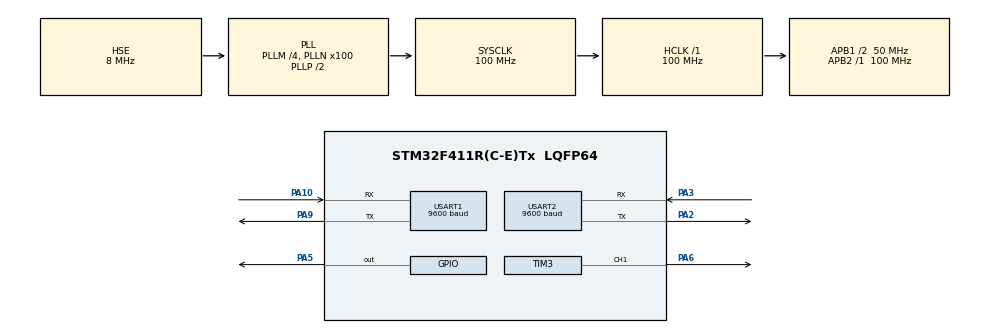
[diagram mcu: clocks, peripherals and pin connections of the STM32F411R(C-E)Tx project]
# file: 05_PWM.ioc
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Mcu.Family=STM32F4
Mcu.Name=STM32F411R(C-E)Tx
Mcu.Package=LQFP64
NVIC.PriorityGroup=NVIC_PRIORITYGROUP_4
NVIC.USART1_IRQn=true\:0\:0\:false\:false\:true\:true\:true\:true
NVIC.USART2_IRQn=true\:0\:0\:false\:false\:true\:true\:true\:true
PA10.Mode=Asynchronous
PA10.Signal=USART1_RX
PA13.Mode=Serial_Wire
PA13.Signal=SYS_JTMS-SWDIO
PA14.Mode=Serial_Wire
PA14.Signal=SYS_JTCK-SWCLK
PA2.Mode=Asynchronous
PA2.Signal=USART2_TX
PA3.Mode=Asynchronous
PA3.Signal=USART2_RX
PA5.Signal=GPIO_Output
PA6.Signal=S_TIM3_CH1
PA9.Mode=Asynchronous
PA9.Signal=USART1_TX
PH0\ -\ OSC_IN.Mode=HSE-External-Oscillator
PH0\ -\ OSC_IN.Signal=RCC_OSC_IN
PH1\ -\ OSC_OUT.Mode=HSE-External-Oscillator
PH1\ -\ OSC_OUT.Signal=RCC_OSC_OUT
ProjectManager.HeapSize=0x200
ProjectManager.StackSize=0x400
ProjectManager.TargetToolchain=STM32CubeIDE
RCC.48MHZClocksFreq_Value=50000000
RCC.AHBFreq_Value=100000000
RCC.APB1CLKDivider=RCC_HCLK_DIV2
RCC.APB1Freq_Value=50000000
RCC.APB1TimFreq_Value=100000000
RCC.APB2Freq_Value=100000000
RCC.APB2TimFreq_Value=100000000
RCC.CortexFreq_Value=100000000
RCC.HCLKFreq_Value=100000000
RCC.HSE_VALUE=8000000
RCC.HSI_VALUE=16000000
RCC.LSE_VALUE=32768
RCC.PLLM=4
RCC.PLLN=100
RCC.PLLSourceVirtual=RCC_PLLSOURCE_HSE
RCC.SYSCLKFreq_VALUE=100000000
RCC.SYSCLKSource=RCC_SYSCLKSOURCE_PLLCLK
RCC.VCOOutputFreq_Value=200000000
SH.S_TIM3_CH1.0=TIM3_CH1,PWM Generation1 CH1
TIM3.Channel-PWM\ Generation1\ CH1=TIM_CHANNEL_1
TIM3.Period=1000-1
TIM3.Prescaler=2000-1
USART1.BaudRate=9600
USART1.VirtualMode=VM_ASYNC
USART2.BaudRate=9600
USART2.VirtualMode=VM_ASYNC
VP_TIM3_VS_ClockSourceINT.Mode=Internal
board=custom

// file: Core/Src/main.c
/* USER CODE BEGIN Header */
/**
  ******************************************************************************
  * @file           : main.c
  * @brief          : Main program body
  ******************************************************************************
  * @attention
  *
  * Copyright (c) 2025 STMicroelectronics.
  * All rights reserved.
  *
  * This software is licensed under terms that can be found in the LICENSE file
  * in the root directory of this software component.
  * If no LICENSE file comes with this software, it is provided AS-IS.
  *
  ******************************************************************************
  */
/* USER CODE END Header */
#include "main.h"
#include "tim.h"
#include "usart.h"
#include "gpio.h"

/* USER CODE BEGIN PV */

uint8_t rxData1;
uint8_t rxData2;

/* USER CODE END PV */

void SystemClock_Config(void);
/* USER CODE BEGIN PFP */

void HAL_UART_RxCpltCallback(UART_HandleTypeDef *huart)
{
	if(huart->Instance == USART2)
	{
	HAL_UART_Receive_IT(&huart2, &rxData2, sizeof(rxData2));
//	HAL_UART_Transmit_IT(&huart1, &rxData2, sizeof(rxData2));
	HAL_UART_Transmit(&huart1, &rxData2, sizeof(rxData2), HAL_MAX_DELAY );
	}

	else if(huart->Instance == USART1)
		{
		HAL_UART_Receive_IT(&huart1, &rxData1, sizeof(rxData1));
//		HAL_UART_Transmit_IT(&huart2, &rxData1, sizeof(rxData1));
		 HAL_UART_Transmit(&huart2, &rxData1, sizeof(rxData1), HAL_MAX_DELAY);
		}

}

/* USER CODE END PFP */

int main(void)
{

  /* MCU Configuration--------------------------------------------------------*/

  /* Reset of all peripherals, Initializes the Flash interface and the Systick. */
  HAL_Init();

  /* Configure the system clock */
  SystemClock_Config();

  /* Initialize all configured peripherals */
  MX_GPIO_Init();
  MX_TIM3_Init();
  MX_USART2_UART_Init();
  MX_USART1_UART_Init();
  /* USER CODE BEGIN 2 */

  HAL_TIM_PWM_Start(&htim3, TIM_CHANNEL_1);

  HAL_UART_Receive_IT(&huart2, &rxData2, 1);
  HAL_UART_Receive_IT(&huart1, &rxData1, 1);

//  TIM3->CCR1 = 500;

  /* USER CODE END 2 */

  /* Infinite loop */
  /* USER CODE BEGIN WHILE */
  while (1)
  {
	  if(rxData1 == 'a')
	  {
		  TIM3->CCR1 = 125;
		  HAL_Delay(500);
	  }

	  if(rxData1 == '0')
	  {
		  TIM3->CCR1 = 75;
		 HAL_Delay(500);
	  }

	  if(rxData1 == 'b')
	  {
	  TIM3->CCR1 = 25;
	  HAL_Delay(500);
	  }

//	  TIM3->CCR1 = 500;
//	  HAL_Delay(500);
//	  TIM3->CCR1 = 250;
//	  HAL_Delay(500);

//	  for(uint16_t i =0; i<1150; i++)
//	  {
//		  TIM3->CCR1 = i;
//		  HAL_Delay(1);
//	  }
    /* USER CODE END WHILE */

  }
}

void SystemClock_Config(void)
{
  RCC_OscInitTypeDef RCC_OscInitStruct = {0};
  RCC_ClkInitTypeDef RCC_ClkInitStruct = {0};

  /** Configure the main internal regulator output voltage
  */
  __HAL_RCC_PWR_CLK_ENABLE();
  __HAL_PWR_VOLTAGESCALING_CONFIG(PWR_REGULATOR_VOLTAGE_SCALE1);

  /** Initializes the RCC Oscillators according to the specified parameters
  * in the RCC_OscInitTypeDef structure.
  */
  RCC_OscInitStruct.OscillatorType = RCC_OSCILLATORTYPE_HSE;
  RCC_OscInitStruct.HSEState = RCC_HSE_ON;
  RCC_OscInitStruct.PLL.PLLState = RCC_PLL_ON;
  RCC_OscInitStruct.PLL.PLLSource = RCC_PLLSOURCE_HSE;
  RCC_OscInitStruct.PLL.PLLM = 4;
  RCC_OscInitStruct.PLL.PLLN = 100;
  RCC_OscInitStruct.PLL.PLLP = RCC_PLLP_DIV2;
  RCC_OscInitStruct.PLL.PLLQ = 4;
  if (HAL_RCC_OscConfig(&RCC_OscInitStruct) != HAL_OK)
  {
    Error_Handler();
  }

  /** Initializes the CPU, AHB and APB buses clocks
  */
  RCC_ClkInitStruct.ClockType = RCC_CLOCKTYPE_HCLK|RCC_CLOCKTYPE_SYSCLK
                              |RCC_CLOCKTYPE_PCLK1|RCC_CLOCKTYPE_PCLK2;
  RCC_ClkInitStruct.SYSCLKSource = RCC_SYSCLKSOURCE_PLLCLK;
  RCC_ClkInitStruct.AHBCLKDivider = RCC_SYSCLK_DIV1;
  RCC_ClkInitStruct.APB1CLKDivider = RCC_HCLK_DIV2;
  RCC_ClkInitStruct.APB2CLKDivider = RCC_HCLK_DIV1;

  if (HAL_RCC_ClockConfig(&RCC_ClkInitStruct, FLASH_LATENCY_3) != HAL_OK)
  {
    Error_Handler();
  }
}

void Error_Handler(void)
{
  __disable_irq();
  while (1)
  {
  }
}
